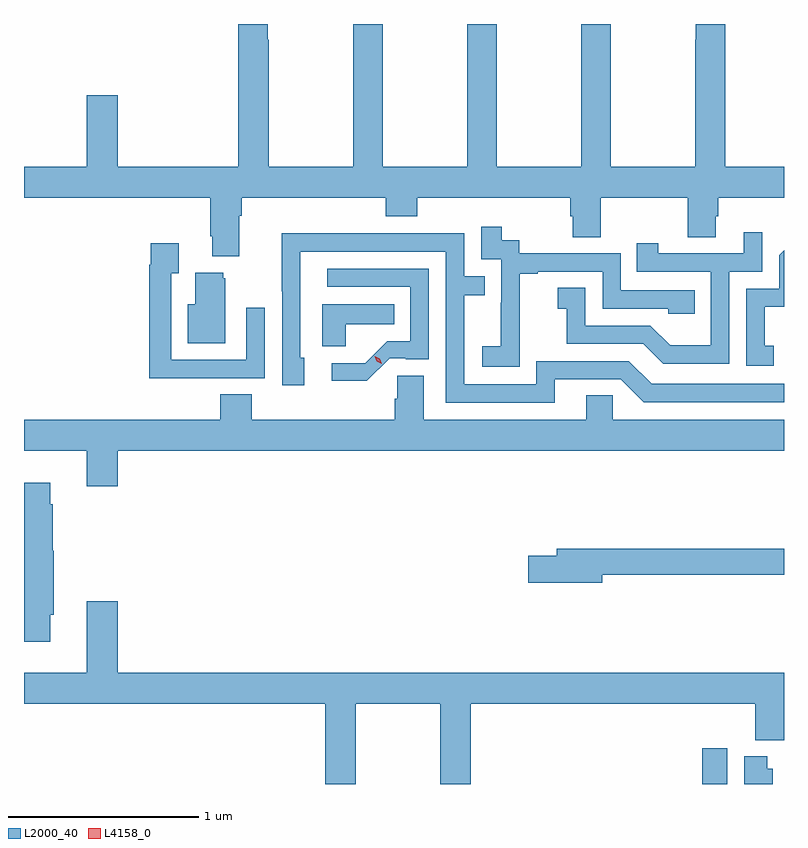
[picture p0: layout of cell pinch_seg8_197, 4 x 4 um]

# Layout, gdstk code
import gdstk
lib = gdstk.Library(unit=1e-6, precision=1e-09)
def R(c, l, rs):  # rectangles x0, y0, x1, y1
    for r in rs: c.add(gdstk.rectangle(r[:2], r[2:], *l))
def P(c, l, *ps):  # polygons
    for p in ps: c.add(gdstk.Polygon(p, *l))
L2000_40 = (2000, 40)
L4158_0 = (4158, 0)

pinch_seg8_197 = lib.new_cell('pinch_seg8_197')
R(pinch_seg8_197, L2000_40, [(647.768,1132.062,647.899,1132.249)])
P(pinch_seg8_197, L2000_40, [(647.735,1136.062),(647.735,1135.979),(647.731,1135.979),(647.731,1135.312),(647.286,1135.312),(647.286,1136.062),(647.131,1136.062),(647.131,1135.312),(646.686,1135.312),(646.686,1136.062),(646.531,1136.062),(646.531,1135.312),(646.086,1135.312),(646.086,1136.062),(645.931,1136.062),(645.931,1135.312),(645.486,1135.312),(645.486,1135.979),(645.481,1135.979),(645.481,1136.062),(645.326,1136.062),(645.326,1135.312),(644.692,1135.312),(644.692,1135.687),(644.528,1135.687),(644.528,1135.312),(644.199,1135.312),(644.199,1135.148),(645.179,1135.148),(645.179,1134.946),(645.191,1134.946),(645.191,1134.839),(645.331,1134.839),(645.331,1135.052),(645.344,1135.052),(645.344,1135.148),(646.103,1135.148),(646.103,1135.049),(646.268,1135.049),(646.268,1135.148),(647.075,1135.148),(647.075,1135.05),(647.087,1135.05),(647.087,1134.94),(647.235,1134.94),(647.235,1135.148),(647.692,1135.148),(647.692,1134.94),(647.839,1134.94),(647.839,1135.05),(647.852,1135.05),(647.852,1135.148),(648.199,1135.148),(648.199,1135.312),(647.891,1135.312),(647.891,1136.062)],
  [(646.809,1134.463),(646.808,1134.463),(646.808,1134.747),(646.903,1134.747),(646.903,1134.759),(647.244,1134.759),(647.244,1134.564),(647.589,1134.564),(647.589,1134.537),(647.729,1134.537),(647.729,1134.66),(647.34,1134.66),(647.34,1134.855),(646.806,1134.855),(646.806,1134.924),(646.714,1134.924),(646.714,1134.994),(646.605,1134.994),(646.605,1134.825),(646.71,1134.825),(646.71,1134.596),(646.709,1134.596),(646.709,1134.367),(646.611,1134.367),(646.611,1134.257),(646.809,1134.257)],
  [(647.91,1134.759),(648.084,1134.759),(648.084,1134.967),(647.987,1134.967),(647.987,1134.855),(647.536,1134.855),(647.536,1134.907),(647.425,1134.907),(647.425,1134.759),(647.814,1134.759),(647.814,1134.37),(647.6,1134.37),(647.496,1134.474),(647.154,1134.474),(647.154,1134.673),(647.007,1134.673),(647.007,1134.563),(647.056,1134.563),(647.056,1134.378),(647.459,1134.378),(647.564,1134.273),(647.91,1134.273)],
  [(646.993,1134.192),(647.34,1134.192),(647.46,1134.072),(648.199,1134.072),(648.199,1134.168),(647.502,1134.168),(647.382,1134.288),(646.896,1134.288),(646.896,1134.165),(646.515,1134.165),(646.515,1134.634),(646.625,1134.634),(646.625,1134.735),(646.515,1134.735),(646.515,1134.96),(646.019,1134.96),(646.019,1134.962),(645.556,1134.962),(645.556,1134.655),(645.558,1134.655),(645.558,1134.162),(645.673,1134.162),(645.673,1134.306),(645.654,1134.306),(645.654,1134.864),(646.419,1134.864),(646.419,1134.069),(646.993,1134.069)],
  [(645.149,1134.198),(645.465,1134.198),(645.465,1134.568),(645.369,1134.568),(645.369,1134.294),(644.973,1134.294),(644.973,1134.751),(645.013,1134.751),(645.013,1134.907),(644.865,1134.907),(644.865,1134.794),(644.857,1134.794),(644.857,1134.197),(645.149,1134.197)],
  [(648.146,1134.369),(648.097,1134.369),(648.097,1134.573),(648.199,1134.573),(648.199,1134.871),(648.174,1134.846),(648.174,1134.669),(648,1134.669),(648,1134.264),(648.146,1134.264)],
  [(646.123,1134.303),(646.208,1134.303),(646.208,1134.297),(646.329,1134.297),(646.329,1134.774),(645.795,1134.774),(645.795,1134.678),(646.233,1134.678),(646.233,1134.393),(646.111,1134.393),(645.994,1134.276),(645.819,1134.276),(645.819,1134.185),(646.004,1134.185)],
  [(645.259,1134.723),(645.248,1134.723),(645.248,1134.754),(645.101,1134.754),(645.101,1134.586),(645.062,1134.586),(645.062,1134.383),(645.259,1134.383)],
  [(645.892,1134.482),(646.148,1134.482),(646.148,1134.586),(645.77,1134.586),(645.77,1134.367),(645.892,1134.367)],
  [(644.692,1133.816),(648.199,1133.816),(648.199,1133.98),(647.298,1133.98),(647.298,1134.107),(647.159,1134.107),(647.159,1133.98),(646.303,1133.98),(646.303,1134.212),(646.164,1134.212),(646.164,1134.089),(646.151,1134.089),(646.151,1133.98),(645.398,1133.98),(645.398,1134.113),(645.233,1134.113),(645.233,1133.98),(644.199,1133.98),(644.199,1133.816),(644.528,1133.816),(644.528,1133.628),(644.692,1133.628)],
  [(644.338,1132.953),(644.356,1132.953),(644.356,1133.289),(644.351,1133.289),(644.351,1133.534),(644.338,1133.534),(644.338,1133.647),(644.199,1133.647),(644.199,1132.812),(644.338,1132.812)],
  [(647.242,1133.164),(648.199,1133.164),(648.199,1133.3),(647.003,1133.3),(647.003,1133.264),(646.854,1133.264),(646.854,1133.122),(647.242,1133.122)],
  [(645.945,1132.484),(646.39,1132.484),(646.39,1132.062),(646.55,1132.062),(646.55,1132.484),(648.047,1132.484),(648.047,1132.292),(648.199,1132.292),(648.199,1132.648),(644.692,1132.648),(644.692,1133.023),(644.528,1133.023),(644.528,1132.648),(644.199,1132.648),(644.199,1132.484),(645.785,1132.484),(645.785,1132.062),(645.945,1132.062)],
  [(648.139,1132.143),(648.112,1132.143),(648.112,1132.207),(647.99,1132.207),(647.99,1132.062),(648.139,1132.062)])
P(pinch_seg8_197, L4158_0, [(646.082,1134.273),(646.056,1134.287),(646.046,1134.314),(646.046,1134.314),(646.046,1134.314),(646.072,1134.3),(646.082,1134.273),(646.082,1134.273)])

lib.write_gds('pinch_seg8_197.gds')
